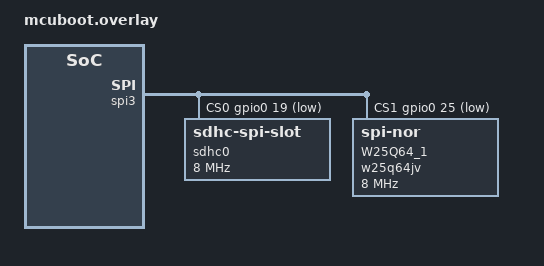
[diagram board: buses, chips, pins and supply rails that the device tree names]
&w25q64 {
    status = "disabled";
};

&spi3 {
    compatible = "nordic,nrf-spim";
    status = "okay";
    pinctrl-0 = <&spi3_default>;
    pinctrl-1 = <&spi3_sleep>;
    pinctrl-names = "default", "sleep";
    cs-gpios = <&gpio0 19 GPIO_ACTIVE_LOW>,<&gpio0 25 GPIO_ACTIVE_LOW>;

    sdhc0: sdhc@0 {
        compatible = "zephyr,sdhc-spi-slot";
        reg = <0>;
        status = "okay";
        mmc {
            compatible = "zephyr,sdmmc-disk";
            status = "okay";
        };
        spi-max-frequency = <8000000>;
    };

    W25Q64_1: w25q64jv@1 {
        compatible = "jedec,spi-nor";
        reg = <1>;
        spi-max-frequency = <8000000>;
        size = <0x4000000>;
        jedec-id = [ef 40 17];
        has-dpd;
        t-enter-dpd = <10000>;
        t-exit-dpd = <5000>;
    };
};


/ {
    chosen {
        nordic,pm-ext-flash = &W25Q64_1;
    };
};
